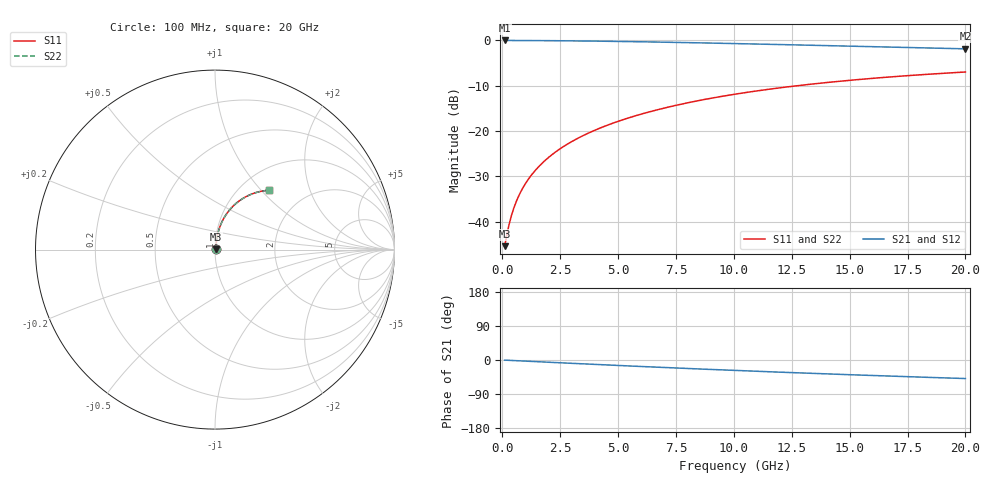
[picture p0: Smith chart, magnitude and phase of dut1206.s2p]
! Touchstone file exported from HFSS 2024.1.0
!  File:  C:/UserFiles/LocalFiles/RDL_TSV_Batchsim/temp_RDL_bottom_1206_1780243472.aedt
!  Generated:  12:07:20 AM Jun  1, 2026
!  Design:  RDL_bottom
!  Project:  temp_RDL_bottom_1206_1780243472
!  Setup:  Setup1
!  Solution:  Sweep
! Variables:
!  dtsv = 10.80580581um
!  hbump = 3um
!  htsv = 89.23um
!  ldown = 687.05um
!  lrdl = 100um
!  p = 40
!  p1 = 48.45um
!  rhole = 1um
!  t = 450um
!  tdown = 2.91um
!  trdl = 3.915915916um
!  wdown = 18.71um
!  wrdl = 20um
# GHz S MA R 50.000000
! Terminal data exported
! Port[1] = RDL1_T1
! Port[2] = RDL1_T2
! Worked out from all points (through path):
!   200 points, 100 MHz to 20 GHz, reference 50 ohm
!   highest |S21| = -0.04 dB at 100 MHz (marker M1); lowest = -1.9 dB at 20 GHz (marker M2)
!   group delay of S21, straight-line fit = 6.78 ps
!   lowest |S11| = -45.4 dB at 100 MHz (marker M3), VSWR 1.01, Z = 50.5 + j0.277 ohm
!   |S11| at or under -10 dB: start of sweep to 12.76 GHz
!   |S22| runs from -45.4 to -7.0 dB; largest |S21 - S12| = 4e-15
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0.1  0.005395 30.6  0.9954 -0.3  0.9954 -0.3  0.005395 30.6
! Gamma 0 0 0 0
! Port Impedance 50 0 50 0
0.2  0.007254 48.7  0.9952 -0.6  0.9952 -0.6  0.007254 48.7
0.3  0.009496 58.3  0.995 -0.9  0.995 -0.9  0.009496 58.3
0.4  0.01185 64.0  0.9948 -1.2  0.9948 -1.2  0.01185 64.0
0.5  0.01425 67.7  0.9945 -1.5  0.9945 -1.5  0.01425 67.7
0.6  0.01665 70.3  0.9943 -1.8  0.9943 -1.8  0.01665 70.3
0.8  0.02149 73.8  0.9939 -2.4  0.9939 -2.4  0.02149 73.8
1.1  0.02883 76.8  0.9931 -3.3  0.9931 -3.3  0.02883 76.8
1.3  0.03377 78.1  0.9926 -3.9  0.9926 -3.9  0.03377 78.0
1.6  0.04123 79.2  0.9917 -4.7  0.9917 -4.7  0.04123 79.2
2.1  0.05377 80.2  0.9898 -6.2  0.9898 -6.2  0.05377 80.1
2.7  0.06895 80.4  0.987 -7.9  0.987 -7.9  0.06895 80.4
3.5  0.08936 80.0  0.9824 -10.2  0.9824 -10.2  0.08935 80.0
4.2  0.1073 79.2  0.9776 -12.2  0.9776 -12.2  0.1073 79.2
5  0.1279 78.1  0.9714 -14.4  0.9714 -14.4  0.1279 78.1
5.9  0.1511 76.6  0.9635 -16.9  0.9635 -16.9  0.1511 76.6
6.8  0.1742 74.9  0.9549 -19.3  0.9549 -19.3  0.1742 74.9
8.4  0.2146 71.6  0.9383 -23.4  0.9383 -23.4  0.2145 71.6
10.1  0.2559 68.0  0.9193 -27.6  0.9193 -27.6  0.2559 68.0
13.4  0.3298 60.9  0.8808 -35.3  0.8808 -35.3  0.3297 60.9
16.7  0.3937 54.0  0.842 -42.4  0.842 -42.4  0.3935 54.0
20  0.4472 47.7  0.8049 -48.9  0.8049 -48.9  0.447 47.6
